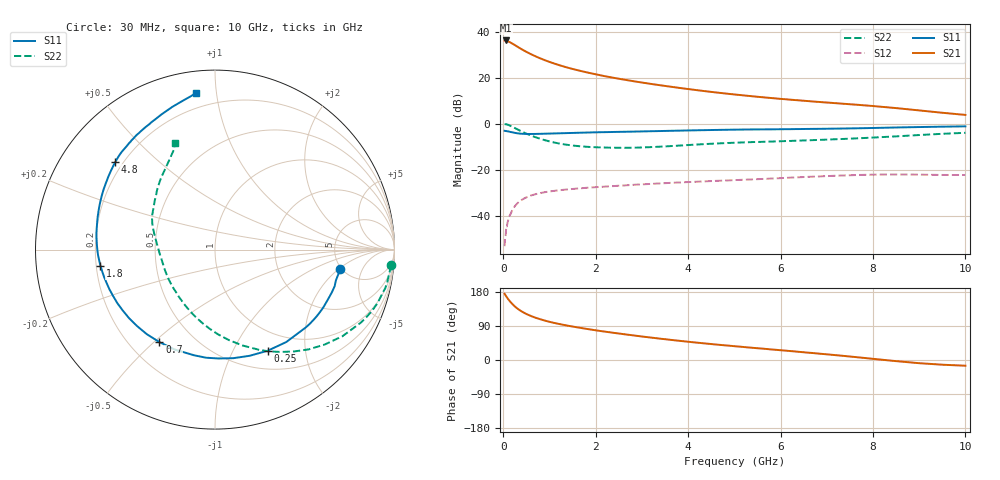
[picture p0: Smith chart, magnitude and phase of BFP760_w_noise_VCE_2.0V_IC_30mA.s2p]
! Infineon Technologies  Discrete & RF Semiconductors
! BFP760
! VCE =  2.0 V,  IC =  30 mA
! Common Emitter S-Parameters:  Nov 2012
# GHz  S  MA  R  50
!  f  S11  S21  S12  S22
! GHz  MAG  ANG  MAG  ANG  MAG  ANG  MAG  ANG
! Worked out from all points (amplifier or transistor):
!   99 points, 30 MHz to 10 GHz, reference 50 ohm
!   highest |S21| = 36.2 dB at 50 MHz (marker M1)
!   |S21| within 3 dB of that: start of sweep to 330.9 MHz
!   unconditionally stable (mu >= 1): 4.187 GHz to end of sweep
!   at 350 MHz: K = 0.27, MSG = 33.3 dB, |S12| = -33.8 dB
!   at 3.5 GHz: K = 0.93, MSG = 21.1 dB, |S12| = -25.8 dB
!   at 10 GHz: K = 1.08, MAG = 11.3 dB, |S12| = -22.3 dB
!   lowest NFmin = 0.75 dB at 900 MHz
!   S11 on the Smith chart (normalised r, x): 30 MHz: 4.82, -2.05; 250 MHz: 0.73, -1.38; 700 MHz: 0.32, -0.52; 1.8 GHz: 0.22, -0.07; 4.8 GHz: 0.17, +0.37; 10 GHz: 0.12, +0.88
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0.03  0.7025 -8.8  64.18 174.8  0.0022 75.8  0.9823 -5.1
0.05  0.6951 -14.2  64.33 170.5  0.0034 85.1  0.9782 -8.9
0.1  0.6843 -27.9  61.8 161.9  0.0075 78.2  0.9529 -18.3
0.15  0.6661 -40.7  58.49 154.1  0.0105 73.2  0.9079 -26.7
0.2  0.6504 -52.3  54.77 147.4  0.0136 68.8  0.8586 -34.2
0.25  0.6353 -62.5  51.15 141.5  0.0162 64.2  0.8082 -40.9
0.35  0.6135 -80.4  44.31 132.0  0.0205 57.2  0.7183 -52.2
0.45  0.6044 -94.7  38.8 124.7  0.0238 52.1  0.6439 -61.8
0.6  0.6003 -111.9  32.4 116.1  0.0277 46.5  0.5556 -74.0
0.7  0.6012 -121.0  29.08 111.5  0.0296 43.6  0.5099 -81.3
0.9  0.6083 -135.5  24.01 104.0  0.0327 39.4  0.44 -94.3
1.1  0.6159 -146.6  20.34 97.9  0.0349 36.6  0.3921 -105.6
1.4  0.6282 -159.2  16.48 90.5  0.0376 34.0  0.3477 -120.0
1.7  0.6401 -169.0  13.82 84.2  0.0399 32.6  0.3213 -132.5
1.8  0.6445 -171.9  13.11 82.2  0.0407 32.2  0.317 -136.4
2.5  0.6669 172.0  9.5 69.9  0.0452 30.5  0.3009 -159.3
3.4  0.695 156.1  6.848 56.2  0.0508 29.0  0.3184 177.9
4.8  0.7395 138.6  4.547 38.7  0.0586 26.6  0.3799 156.9
5.1  0.7468 136.1  4.226 35.4  0.0603 26.0  0.3908 153.8
6.7  0.7739 124.2  3.047 18.4  0.071 22.1  0.4413 138.7
8.5  0.8302 106.6  2.188 -3.0  0.0793 11.6  0.5324 121.0
10  0.878 97.1  1.556 -15.1  0.0771 7.1  0.6364 110.5
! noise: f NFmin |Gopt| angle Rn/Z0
0.9  0.75  0.17  -168  0.1
1.8  0.8  0.19  -157  0.06
2.4  0.85  0.19  -148  0.08
3.5  0.96  0.2  -140  0.1
5.5  1.18  0.27  -99  0.3
8  1.48  0.39  -73  0.42
